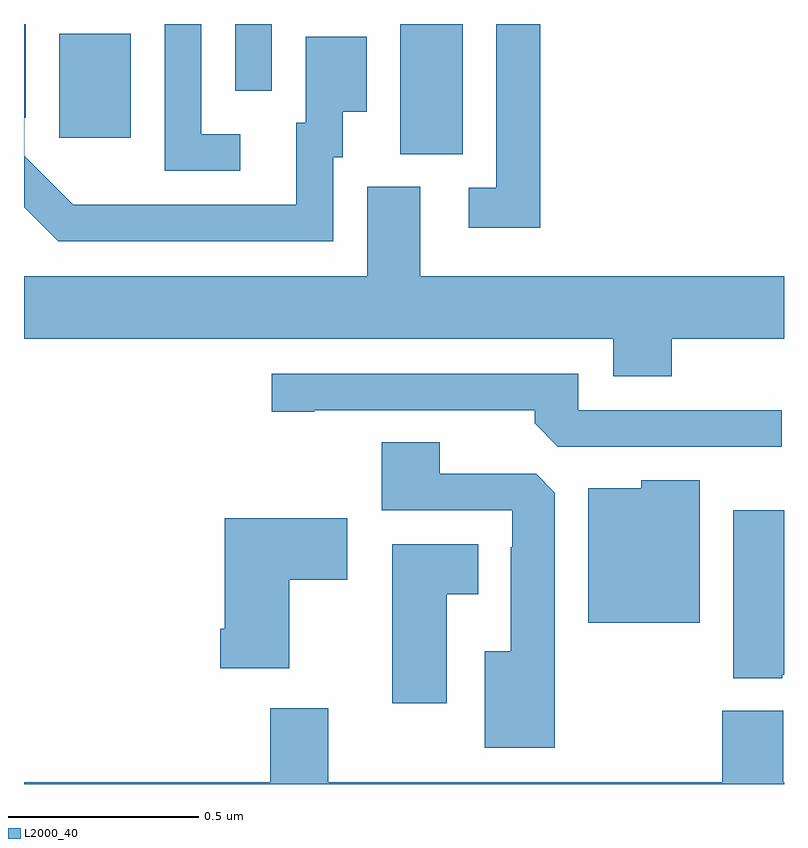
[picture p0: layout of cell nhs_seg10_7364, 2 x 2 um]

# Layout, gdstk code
import gdstk
lib = gdstk.Library(unit=1e-6, precision=1e-09)
def R(c, l, rs):  # rectangles x0, y0, x1, y1
    for r in rs: c.add(gdstk.rectangle(r[:2], r[2:], *l))
def P(c, l, *ps):  # polygons
    for p in ps: c.add(gdstk.Polygon(p, *l))
L2000_40 = (2000, 40)

nhs_seg10_7364 = lib.new_cell('nhs_seg10_7364')
R(nhs_seg10_7364, L2000_40, [(203.99,1278.157,204.154,1278.5), (203.093,1278.201,203.281,1278.475), (203.556,1278.324,203.652,1278.5)])
P(nhs_seg10_7364, L2000_40, [(203.569,1278.21),(203.466,1278.21),(203.466,1278.5),(203.37,1278.5),(203.37,1278.114),(203.569,1278.114)],
  [(204.359,1278.5),(204.243,1278.5),(204.243,1278.069),(204.171,1278.069),(204.171,1277.964),(204.359,1277.964)],
  [(203.814,1278.15),(203.839,1278.15),(203.839,1278.269),(203.902,1278.269),(203.902,1278.466),(203.741,1278.466),(203.741,1278.24),(203.717,1278.24),(203.717,1278.024),(203.233,1278.024),(203.233,1278.025),(203.13,1278.025),(203.001,1278.153),(203.001,1278.253),(203.004,1278.253),(203.004,1278.5),(203,1278.5),(203,1278.018),(203.09,1277.928),(203.814,1277.928)],
  [(204.704,1277.672),(205,1277.672),(205,1277.836),(204.043,1277.836),(204.043,1278.072),(203.903,1278.072),(203.903,1277.836),(203,1277.836),(203,1277.672),(204.551,1277.672),(204.551,1277.573),(204.704,1277.573)],
  [(204.994,1277.484),(204.459,1277.484),(204.459,1277.58),(203.652,1277.58),(203.652,1277.479),(203.764,1277.479),(203.764,1277.484),(204.344,1277.484),(204.344,1277.45),(204.405,1277.388),(204.994,1277.388)],
  [(204.397,1277.267),(204.348,1277.316),(204.094,1277.316),(204.094,1277.399),(203.942,1277.399),(203.942,1277.22),(204.285,1277.22),(204.285,1277.123),(204.281,1277.123),(204.281,1276.849),(204.212,1276.849),(204.212,1276.595),(204.397,1276.595)],
  [(204.778,1277.299),(204.624,1277.299),(204.624,1277.278),(204.485,1277.278),(204.485,1276.925),(204.778,1276.925)],
  [(204.996,1276.787),(205,1276.787),(205,1277.221),(204.866,1277.221),(204.866,1276.778),(204.996,1276.778)],
  [(203.698,1277.038),(203.851,1277.038),(203.851,1277.2),(203.528,1277.2),(203.528,1276.909),(203.516,1276.909),(203.516,1276.805),(203.698,1276.805)],
  [(204.112,1277),(204.196,1277),(204.196,1277.131),(203.969,1277.131),(203.969,1276.713),(204.112,1276.713)],
  [(205,1276.504),(204.998,1276.504),(204.998,1276.693),(204.838,1276.693),(204.838,1276.504),(203.8,1276.504),(203.8,1276.699),(203.648,1276.699),(203.648,1276.504),(203,1276.504),(203,1276.5),(205,1276.5)])

lib.write_gds('nhs_seg10_7364.gds')
